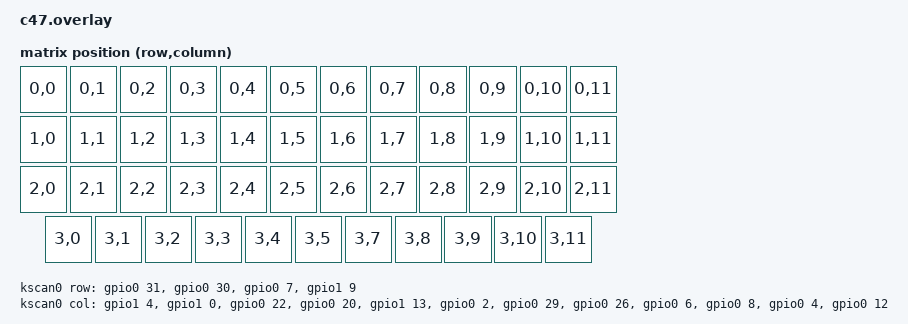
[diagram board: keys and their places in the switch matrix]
/*
 * Copyright (c) 2020 The ZMK Contributors
 *
 * SPDX-License-Identifier: MIT
 */

#include <dt-bindings/zmk/matrix_transform.h>
// #include <layouts/common/60percent/ansi.dtsi>

/ {
    chosen {
        zmk,kscan = &kscan0;
        zmk,matrix-transform = &default_transform;
        // zmk,physical-layout = &layout_60_ansi;
    };

    kscan0: kscan {
        compatible = "zmk,kscan-gpio-matrix";

        diode-direction = "col2row";
        row-gpios
            =
              <&gpio0 31 (GPIO_ACTIVE_HIGH | GPIO_PULL_DOWN)>    // row 0
            , <&gpio0 30 (GPIO_ACTIVE_HIGH | GPIO_PULL_DOWN)>    // row 1
            , <&gpio0 7 (GPIO_ACTIVE_HIGH | GPIO_PULL_DOWN)>   // row 2
            , <&gpio1 9 (GPIO_ACTIVE_HIGH | GPIO_PULL_DOWN)>    // row 3
            ;

        col-gpios
            =
              <&gpio1 4 GPIO_ACTIVE_HIGH> // col 0
            , <&gpio1 0 GPIO_ACTIVE_HIGH> // col 1
            , <&gpio0 22 GPIO_ACTIVE_HIGH> // col 2
            , <&gpio0 20 GPIO_ACTIVE_HIGH> // col 3
            , <&gpio1 13 GPIO_ACTIVE_HIGH> // col 4
            , <&gpio0 2 GPIO_ACTIVE_HIGH> // col 5

            , <&gpio0 29 GPIO_ACTIVE_HIGH> // col 6
            , <&gpio0 26 GPIO_ACTIVE_HIGH> // col 7
            , <&gpio0 6 GPIO_ACTIVE_HIGH> // col 8
            , <&gpio0 8 GPIO_ACTIVE_HIGH> // col 9
            , <&gpio0 4 GPIO_ACTIVE_HIGH> // col 10
            , <&gpio0 12 GPIO_ACTIVE_HIGH> // col 11
            ;
    };

    default_transform: keymap_transform_0 {
        compatible = "zmk,matrix-transform";
        columns = <13>;
        rows = <4>;
        map = <
RC(0,0) RC(0,1) RC(0,2) RC(0,3) RC(0,4) RC(0,5) RC(0,6) RC(0,7) RC(0,8) RC(0,9) RC(0,10)   RC(0,11)
RC(1,0)  RC(1,1) RC(1,2) RC(1,3) RC(1,4) RC(1,5) RC(1,6) RC(1,7) RC(1,8) RC(1,9) RC(1,10)   RC(1,11)
RC(2,0)   RC(2,1) RC(2,2) RC(2,3) RC(2,4) RC(2,5) RC(2,6) RC(2,7) RC(2,8) RC(2,9) RC(2,10)   RC(2,11)
RC(3,0) RC(3,1) RC(3,2) RC(3,3)  RC(3,4)     RC(3,5)     RC(3,7)   RC(3,8)  RC(3,9) RC(3,10) RC(3,11)
        >;
    };
};

// &layout_60_ansi {
//     transform = <&default_transform>;
// };
